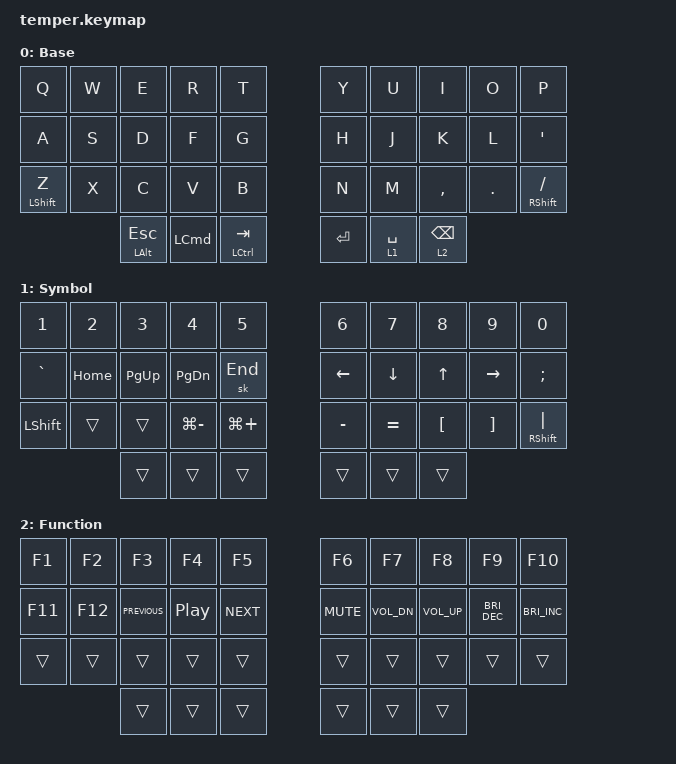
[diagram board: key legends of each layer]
/*
 * Copyright (c) 2020 duckyb
 *
 * SPDX-License-Identifier: MIT
 */

#include <dt-bindings/zmk/mouse.h>
#include <input/processors.dtsi>

#define ZMK_POINTING_DEFAULT_MOVE_VAL 1800  // 600, 1200
#define ZMK_MOUSE_DEFAULT_SCRL_VAL 20    // 10

#include <behaviors.dtsi>
#include <dt-bindings/zmk/keys.h>

&mmv_input_listener {
    precisionnav {
        layers = <1>;
        input-processors = <&zip_xy_scaler 1 3>;
    };

    precisionnum {
        layers = <2>;
        input-processors = <&zip_xy_scaler 1 2>;
    };
};

&mt {
    tapping-term-ms = <150>;
    flavor = "balanced";
};

&lt { tapping-term-ms = <165>; };

/ {
    behaviors {
        mmv {
            acceleration-exponent = <2>; // 1
            time-to-max-speed-ms = <40>; // 40
            delay-ms = <0>; // 0
        };

        hm: hm {
            compatible = "zmk,behavior-hold-tap";
            label = "HM";
            bindings = <&kp>, <&kp>;

            #binding-cells = <2>;
            quick-tap-ms = <65>;
            tapping-term-ms = <125>;
            global-quick-tap;
            flavor = "tap-preferred";
        };

        hml: hml {
            compatible = "zmk,behavior-hold-tap";
            label = "HML";
            bindings = <&kp>, <&kp>;

            #binding-cells = <2>;
            tapping-term-ms = <105>;
            quick-tap-ms = <60>;
            flavor = "hold-preferred";
            hold-trigger-key-positions = <0 1 2 3 4 20 21 22 23 24 14 25 15 5 6 16 26 27 17 7 8 18 28 29 19 9 11 12 13>;
            require-prior-idle-ms = <70>;
            hold-trigger-on-release;
        };

        hmr: hmr {
            compatible = "zmk,behavior-hold-tap";
            label = "HMR";
            bindings = <&kp>, <&kp>;

            #binding-cells = <2>;
            tapping-term-ms = <105>;
            quick-tap-ms = <60>;
            flavor = "hold-preferred";
            hold-trigger-key-positions = <0 10 20 21 1 11 12 2 3 4 24 14 13 23 22 25 26 28 27 29 9 8 7 6 5 15 16 17 18 30 31 32 33 34 35>;
            require-prior-idle-ms = <70>;
            hold-trigger-on-release;
        };

        mo_tog: mo_tog {
            compatible = "zmk,behavior-hold-tap";
            label = "MO_TOG";
            bindings = <&mo>, <&tog>;

            #binding-cells = <2>;
            tapping-term-ms = <200>;
            quick-tap-ms = <180>;
        };

        space_alt: space_alt {
            compatible = "zmk,behavior-hold-tap";
            label = "SPACE_ALT";
            bindings = <&kp>, <&kp>;

            #binding-cells = <2>;
            tapping-term-ms = <235>;
            quick-tap-ms = <100>;
            flavor = "tap-preferred";
            hold-trigger-key-positions = <10 12 20 21 16 17 19 6>;
            hold-trigger-on-release;
        };
    };

    combos { compatible = "zmk,combos"; };

    keymap {
        compatible = "zmk,keymap";

        base {
            display-name = "Base";
            bindings = <
  &kp Q             &kp W  &kp E             &kp R             &kp T                   &kp Y      &kp U        &kp I            &kp O    &kp P
  &kp A             &kp S  &kp D             &kp F             &kp G                   &kp H      &kp J        &kp K            &kp L    &kp SINGLE_QUOTE
  &mt LEFT_SHIFT Z  &kp X  &kp C             &kp V             &kp B                   &kp N      &kp M        &kp COMMA        &kp DOT  &mt RIGHT_SHIFT SLASH
                           &mt LEFT_ALT ESC  &kp LEFT_COMMAND  &mt LEFT_CONTROL TAB    &kp ENTER  &lt 1 SPACE  &lt 2 BACKSPACE
            >;
        };

        Symbol {
            bindings = <
  &kp NUMBER_1    &kp NUMBER_2  &kp NUMBER_3  &kp NUMBER_4   &kp N5          &kp NUMBER_6    &kp N7          &kp N8            &kp N9             &kp N0
  &kp GRAVE       &kp HOME      &kp PAGE_UP   &kp PAGE_DOWN  &sk END         &kp LEFT_ARROW  &kp DOWN_ARROW  &kp UP_ARROW      &kp RIGHT_ARROW    &kp SEMI
  &kp LEFT_SHIFT  &trans        &trans        &kp LG(MINUS)  &kp LG(PLUS)    &kp MINUS       &kp EQUAL       &kp LEFT_BRACKET  &kp RIGHT_BRACKET  &mt RIGHT_SHIFT PIPE
                                &trans        &trans         &trans          &trans          &trans          &trans
            >;
        };

        Function {
            bindings = <
  &kp F1   &kp F2   &kp F3          &kp F4            &kp F5        &kp F6      &kp F7        &kp F8           &kp F9                &kp F10
  &kp F11  &kp F12  &kp C_PREVIOUS  &kp C_PLAY_PAUSE  &kp C_NEXT    &kp C_MUTE  &kp C_VOL_DN  &kp C_VOLUME_UP  &kp C_BRIGHTNESS_DEC  &kp C_BRIGHTNESS_INC
  &trans   &trans   &trans          &trans            &trans        &trans      &trans        &trans           &trans                &trans
                    &trans          &trans            &trans        &trans      &trans        &trans
            >;
        };
    };
};
